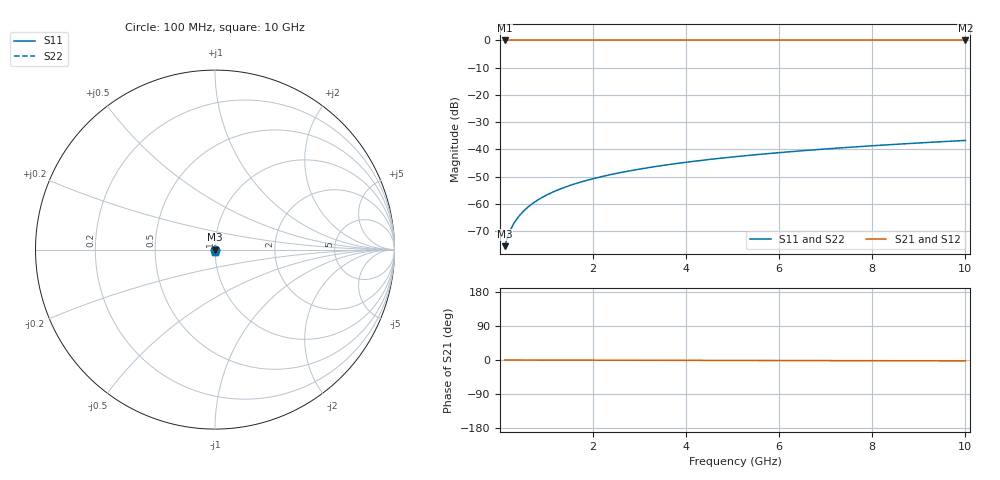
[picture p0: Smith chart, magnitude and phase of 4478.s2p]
# Hz S RI R 50.00
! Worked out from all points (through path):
!   100 points, 100 MHz to 10 GHz, reference 50 ohm
!   highest |S21| = 0.00 dB at 100 MHz (marker M1); lowest = 0.0 dB at 10 GHz (marker M2)
!   lowest |S11| = -75.5 dB at 100 MHz (marker M3), VSWR 1.00, Z = 50 - j0.0145 ohm
!   |S11| at or under -10 dB: start of sweep to end of sweep
!   |S22| runs from -75.5 to -36.7 dB; largest |S21 - S12| = 0
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1e8  8.51e-05 -0.000145  0.9999 -0.000403  0.9999 -0.000403  8.51e-05 -0.000145
2e8  8.52e-05 -0.00029  0.9999 -0.000806  0.9999 -0.000806  8.52e-05 -0.00029
3e8  8.51e-05 -0.000436  0.9999 -0.00121  0.9999 -0.00121  8.51e-05 -0.000436
4e8  8.47e-05 -0.000581  0.9999 -0.00161  0.9999 -0.00161  8.47e-05 -0.000581
5e8  8.43e-05 -0.000726  0.9999 -0.00201  0.9999 -0.00201  8.43e-05 -0.000726
6e8  8.36e-05 -0.000871  0.9999 -0.00242  0.9999 -0.00242  8.36e-05 -0.000871
7e8  8.28e-05 -0.00102  0.9999 -0.00282  0.9999 -0.00282  8.28e-05 -0.00102
8e8  8.19e-05 -0.00116  0.9999 -0.00322  0.9999 -0.00322  8.19e-05 -0.00116
9e8  8.09e-05 -0.00131  0.9999 -0.00363  0.9999 -0.00363  8.09e-05 -0.00131
1.1e9  7.84e-05 -0.0016  0.9999 -0.00443  0.9999 -0.00443  7.84e-05 -0.0016
1.4e9  7.38e-05 -0.00203  0.9999 -0.00564  0.9999 -0.00564  7.38e-05 -0.00203
1.8e9  6.58e-05 -0.00262  0.9999 -0.00725  0.9999 -0.00725  6.58e-05 -0.00262
2.1e9  5.86e-05 -0.00305  0.9999 -0.00846  0.9999 -0.00846  5.86e-05 -0.00305
2.5e9  4.73e-05 -0.00363  0.9998 -0.0101  0.9998 -0.0101  4.73e-05 -0.00363
2.9e9  3.4e-05 -0.00422  0.9998 -0.0117  0.9998 -0.0117  3.4e-05 -0.00422
3.4e9  1.48e-05 -0.00495  0.9998 -0.0137  0.9998 -0.0137  1.48e-05 -0.00495
4.2e9  -2.21e-05 -0.00611  0.9997 -0.0169  0.9997 -0.0169  -2.21e-05 -0.00611
5.1e9  -7.29e-05 -0.00743  0.9997 -0.0206  0.9997 -0.0206  -7.29e-05 -0.00743
5.9e9  -0.000126 -0.0086  0.9996 -0.0238  0.9996 -0.0238  -0.000126 -0.0086
6.7e9  -0.000187 -0.00978  0.9995 -0.0271  0.9995 -0.0271  -0.000187 -0.00978
8.4e9  -0.000342 -0.0123  0.9992 -0.034  0.9992 -0.034  -0.000342 -0.0123
1e10  -0.000521 -0.0146  0.9989 -0.0405  0.9989 -0.0405  -0.000521 -0.0146
